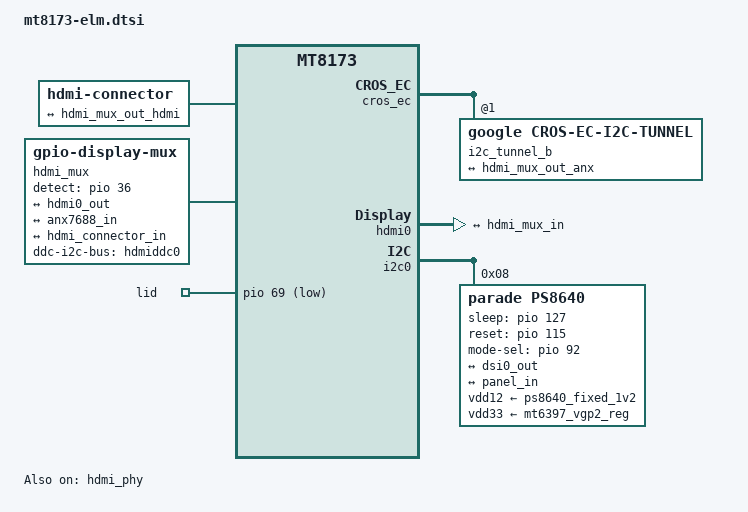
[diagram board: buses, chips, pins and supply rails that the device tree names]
/*
 * Copyright 2016 MediaTek Inc.
 * Author: Eddie Huang <eddie.huang@mediatek.com>
 *
 * This program is free software; you can redistribute it and/or modify
 * it under the terms of the GNU General Public License version 2 as
 * published by the Free Software Foundation.
 *
 * This program is distributed in the hope that it will be useful,
 * but WITHOUT ANY WARRANTY; without even the implied warranty of
 * MERCHANTABILITY or FITNESS FOR A PARTICULAR PURPOSE.  See the
 * GNU General Public License for more details.
 */

#include "mt8173-oak.dtsi"

/ {
	hdmicon: connector {
		compatible = "hdmi-connector";
		label = "hdmi";
		type = "a";

		port {
			hdmi_connector_in: endpoint {
				remote-endpoint = <&hdmi_mux_out_hdmi>;
			};
		};
	};

	hdmi_mux: hdmi_mux {
		compatible = "gpio-display-mux";
		status = "okay";
		detect-gpios = <&pio 36 GPIO_ACTIVE_HIGH>;
		pinctrl-names = "default";
		pinctrl-0 = <&hdmi_mux_pins>;
		ddc-i2c-bus = <&hdmiddc0>;

		ports {
			#address-cells = <1>;
			#size-cells = <0>;

			port@0 { /* input */
				reg = <0>;

				hdmi_mux_in: endpoint {
					remote-endpoint = <&hdmi0_out>;
				};
			};

			port@1 { /* output */
				reg = <1>;

				#address-cells = <1>;
				#size-cells = <0>;

				hdmi_mux_out_anx: endpoint@0 {
					reg = <0>;
					remote-endpoint = <&anx7688_in>;
				};

				hdmi_mux_out_hdmi: endpoint@1 {
					reg = <1>;
					remote-endpoint = <&hdmi_connector_in>;
				};
			};
		};
	};
};

&aud_i2s2 {
	pins1 {
		pinmux = <MT8173_PIN_128_I2S0_LRCK__FUNC_I2S1_WS>,
			 <MT8173_PIN_129_I2S0_BCK__FUNC_I2S1_BCK>,
			 <MT8173_PIN_130_I2S0_MCK__FUNC_I2S1_MCK>,
			 <MT8173_PIN_131_I2S0_DATA0__FUNC_I2S1_DO_1>,
			 <MT8173_PIN_12_EINT12__FUNC_I2S2_WS>,
			 <MT8173_PIN_13_EINT13__FUNC_I2S2_BCK>,
			 <MT8173_PIN_132_I2S0_DATA1__FUNC_I2S2_DI_2>;
		bias-pull-down;
	};
};

&cpu_thermal {
	sustainable-power = <4500>; /* milliwatts */
	trips {
		threshold: trip-point@0 {
			temperature = <60000>;
		};

		target: trip-point@1 {
			temperature = <65000>;
		};
	};
};

&cros_ec {
	i2c_tunnel_b: i2c-tunnel@1 {
		compatible = "google,cros-ec-i2c-tunnel";
		google,remote-bus = <1>;
		#address-cells = <1>;
		#size-cells = <0>;

		anx7688: anx7688@2c {
			compatible = "analogix,anx7688";
			status = "okay";
			reg = <0x2c>;

			port {
				anx7688_in: endpoint {
					remote-endpoint = <&hdmi_mux_out_anx>;
				};
			};
		};
	};
};

&hdmi0 {
	ports {
		port@1 {
			hdmi0_out: endpoint {
				remote-endpoint = <&hdmi_mux_in>;
			};
		};
	};
};

&hdmi_phy {
	status = "okay";
	mediatek,ibias = <0xc>;
};

&i2c_tunnel {
	/delete-node/thermal@4c;
};

&i2c0 {
	/delete-node/audio-codec@57;

	ps8640: edp-bridge@8 {
		compatible = "parade,ps8640";
		reg = <0x8>;
		sleep-gpios = <&pio 127 GPIO_ACTIVE_HIGH>;
		reset-gpios = <&pio 115 GPIO_ACTIVE_HIGH>;
		mode-sel-gpios = <&pio 92 GPIO_ACTIVE_HIGH>;
		pinctrl-names = "default";
		pinctrl-0 = <&ps8640_pins>;
		vdd12-supply = <&ps8640_fixed_1v2>;
		vdd33-supply = <&mt6397_vgp2_reg>;
		#address-cells = <1>;
		#size-cells = <0>;

		port@0 {
			reg = <0>;

			ps8640_in: endpoint {
				remote-endpoint = <&dsi0_out>;
			};
		};

		port@1 {
			reg = <1>;

			ps8640_out: endpoint {
				remote-endpoint = <&panel_in>;
			};
		};
	};
};

&i2c3 {
	/delete-node/anx7814@72;
};

&i2c4 {
	/delete-node/edp-bridge@18;
};

&gpio_keys {
	lid {
		gpios = <&pio 69 GPIO_ACTIVE_LOW>;
	};
};

&mmc1 {
	/delete-property/wp-gpios;
};

&mmc1_pins_default {
	/delete-node/pins_wp;
};

&mt6397_vgp6_reg {
	regulator-always-on;
};

&pio {
	/delete-node/anx7814_pins;
	/delete-node/rt5514_irq;

	hdmi_mux_pins: hdmi_mux_pins {
		pins1 {
			pinmux = <MT8173_PIN_36_DAISYNC__FUNC_GPIO36>;
		};
	};
};

&ps8640_fixed_1v2 {
	regulator-enable-ramp-delay = <2000>;
};

&rt5650 {
	#sound-dai-cells = <1>;
	realtek,dmic1-data-pin = <2>;
	realtek,jd-mode = <2>;
};

&sound {
	compatible = "mediatek,mt8173-rt5650";
	mediatek,mclk = <1>;
	mediatek,audio-codec = <&rt5650 &hdmi0>;
	codec-capture {
		sound-dai = <&rt5650 1>;
	};
};

&trackpad {
	vcc-supply = <&mt6397_vgp6_reg>;
};
